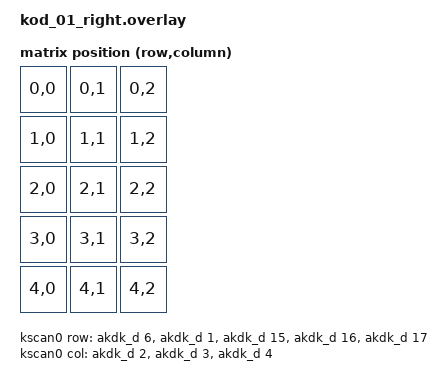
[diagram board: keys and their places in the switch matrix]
#include <dt-bindings/zmk/matrix_transform.h>
#include <dt-bindings/zmk/input_transform.h>
#include <input/processors.dtsi>
#include "layouts.dtsi"

/ {
    chosen {
        zmk,physical-layout = &physical_layout0;
    };

    default_transform: keymap_transform_0 {
        compatible = "zmk,matrix-transform";
        columns = <3>;
        rows = <5>;
        map = <
            RC(0,0) RC(0,1) RC(0,2)
            RC(1,0) RC(1,1) RC(1,2)
            RC(2,0) RC(2,1) RC(2,2)
            RC(3,0) RC(3,1) RC(3,2)
            RC(4,0) RC(4,1) RC(4,2)
        >;
        col-offset = <0>;
    };

    kscan0: kscan {
        compatible = "zmk,kscan-gpio-matrix";
        wakeup-source;
        diode-direction = "col2row";
        row-gpios
            = <&akdk_d 6 (GPIO_ACTIVE_HIGH | GPIO_PULL_DOWN)>
            , <&akdk_d 1 (GPIO_ACTIVE_HIGH | GPIO_PULL_DOWN)>
            , <&akdk_d 15 (GPIO_ACTIVE_HIGH | GPIO_PULL_DOWN)>
            , <&akdk_d 16 (GPIO_ACTIVE_HIGH | GPIO_PULL_DOWN)>
            , <&akdk_d 17 (GPIO_ACTIVE_HIGH | GPIO_PULL_DOWN)>
            ;
        col-gpios
            = <&akdk_d 2 GPIO_ACTIVE_HIGH>
            , <&akdk_d 3 GPIO_ACTIVE_HIGH>
            , <&akdk_d 4 GPIO_ACTIVE_HIGH>
            ;
    };

    trackball_listener: trackball_listener {
        compatible = "zmk,input-listener";
        device = <&trackball>;
        input-processors = <&zip_xy_transform (INPUT_TRANSFORM_X_INVERT | INPUT_TRANSFORM_Y_INVERT)>;
    };
};

&physical_layout0 {
    kscan = <&kscan0>;
    transform = <&default_transform>;
};

&pinctrl {
    spi0_default: spi0_default {
        group1 {
            psels = <NRF_PSEL(SPIM_SCK, 0, 12)>,
                    <NRF_PSEL(SPIM_MOSI, 1, 9)>,
                    <NRF_PSEL(SPIM_MISO, 1, 9)>;
        };
    };

    spi0_sleep: spi0_sleep {
        group1 {
            psels = <NRF_PSEL(SPIM_SCK, 0, 12)>,
                    <NRF_PSEL(SPIM_MOSI, 1, 9)>,
                    <NRF_PSEL(SPIM_MISO, 1, 9)>;
            low-power-enable;
        };
    };
};

&spi0 {
    status = "okay";
    compatible = "nordic,nrf-spim";
    pinctrl-0 = <&spi0_default>;
    pinctrl-1 = <&spi0_sleep>;
    pinctrl-names = "default", "sleep";
    cs-gpios = <&gpio0 13 GPIO_ACTIVE_LOW>;

    trackball: trackball@0 {
        status = "okay";
        compatible = "pixart,paw3222";
        reg = <0>;
        spi-max-frequency = <2000000>;
        irq-gpios = <&gpio0 15 GPIO_ACTIVE_LOW>;
    };
};
